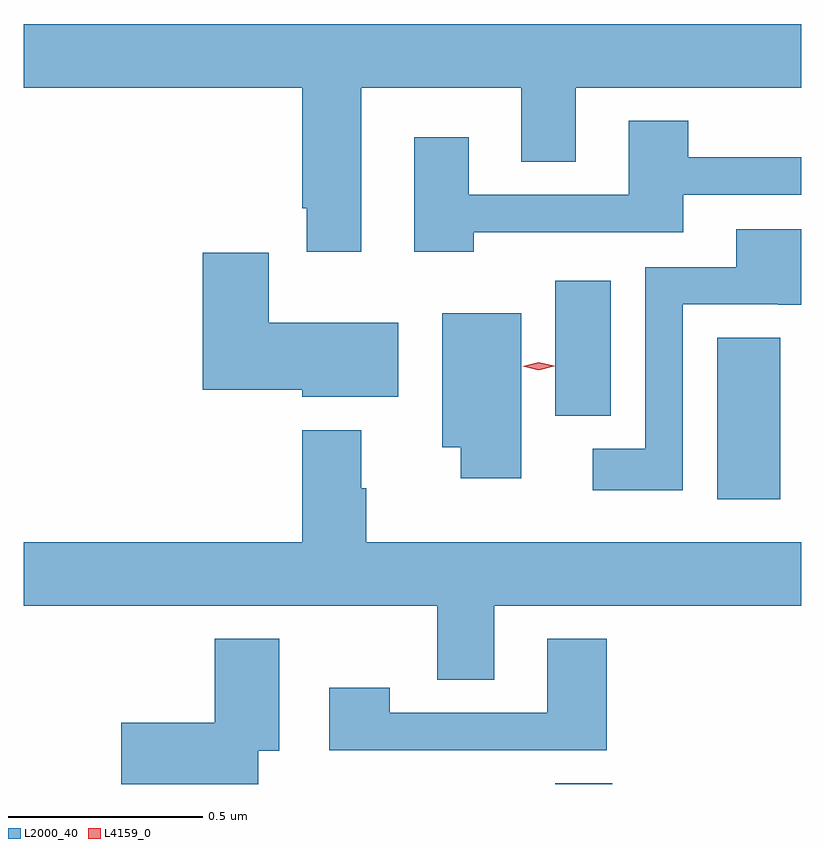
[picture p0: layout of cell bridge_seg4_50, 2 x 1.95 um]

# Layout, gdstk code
import gdstk
lib = gdstk.Library(unit=1e-6, precision=1e-09)
def R(c, l, rs):  # rectangles x0, y0, x1, y1
    for r in rs: c.add(gdstk.rectangle(r[:2], r[2:], *l))
def P(c, l, *ps):  # polygons
    for p in ps: c.add(gdstk.Polygon(p, *l))
L2000_40 = (2000, 40)
L4159_0 = (4159, 0)

bridge_seg4_50 = lib.new_cell('bridge_seg4_50')
R(bridge_seg4_50, L2000_40, [(744.548,765.726,744.695,765.728), (744.965,766.458,745.126,766.873), (744.548,766.673,744.691,767.02)])
P(bridge_seg4_50, L2000_40, [(744.049,767.516),(744.461,767.516),(744.461,767.326),(744.601,767.326),(744.601,767.516),(745.181,767.516),(745.181,767.68),(743.181,767.68),(743.181,767.516),(743.897,767.516),(743.897,767.206),(743.909,767.206),(743.909,767.094),(744.049,767.094)],
  [(744.338,767.145),(744.877,767.145),(744.877,767.241),(745.181,767.241),(745.181,767.338),(744.89,767.338),(744.89,767.431),(744.737,767.431),(744.737,767.241),(744.325,767.241),(744.325,767.389),(744.185,767.389),(744.185,767.094),(744.338,767.094)],
  [(744.876,766.959),(745.122,766.959),(745.122,766.958),(745.181,766.958),(745.181,767.152),(745.013,767.152),(745.013,767.055),(744.78,767.055),(744.78,766.588),(744.645,766.588),(744.645,766.481),(744.876,766.481)],
  [(744.145,766.912),(743.812,766.912),(743.812,767.092),(743.642,767.092),(743.642,766.739),(743.898,766.739),(743.898,766.721),(744.145,766.721)],
  [(744.46,766.936),(744.257,766.936),(744.257,766.592),(744.305,766.592),(744.305,766.512),(744.46,766.512)],
  [(744.391,766.184),(745.181,766.184),(745.181,766.348),(744.062,766.348),(744.062,766.487),(744.049,766.487),(744.049,766.636),(743.897,766.636),(743.897,766.348),(743.181,766.348),(743.181,766.184),(744.244,766.184),(744.244,765.994),(744.391,765.994)],
  [(743.785,765.812),(743.839,765.812),(743.839,766.099),(743.672,766.099),(743.672,765.883),(743.432,765.883),(743.432,765.726),(743.785,765.726)],
  [(744.68,766.099),(744.527,766.099),(744.527,765.909),(744.123,765.909),(744.123,765.973),(743.967,765.973),(743.967,765.813),(744.68,765.813)])
P(bridge_seg4_50, L4159_0, [(744.505,766.79),(744.465,766.8),(744.464,766.8),(744.465,766.8),(744.505,766.81),(744.545,766.801),(744.546,766.8),(744.545,766.8)])

lib.write_gds('bridge_seg4_50.gds')
